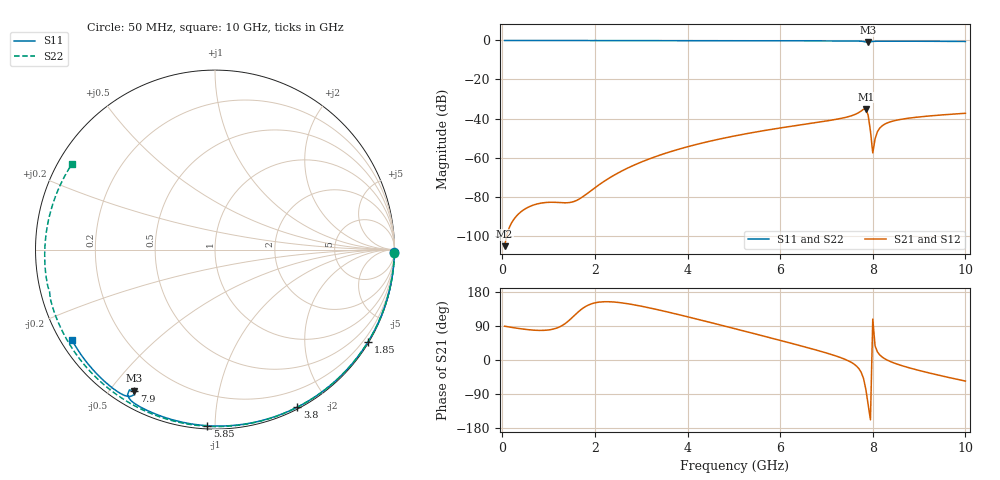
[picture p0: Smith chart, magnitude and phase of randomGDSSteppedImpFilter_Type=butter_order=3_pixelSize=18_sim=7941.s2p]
! freq	dB(S11)	phase(S11)	dB(S12)	phase(S12)
!  dB(S21)	phase(S21)	dB(S22)	phase(S22)
!S-par simulation data
#  GHz  S  DB  R 50
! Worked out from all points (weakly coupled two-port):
!   200 points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, 50 MHz to 10 GHz, reference 50 ohm
!   highest |S21| = -35.11 dB at 7.85 GHz (marker M1); lowest = -105.4 dB at 50 MHz (marker M2)
!   lowest |S11| = -0.9 dB at 7.9 GHz (marker M3), VSWR 20.29, Z = 3.29 - j28.9 ohm
!   |S11| at or under -10 dB: nowhere
!   |S22| runs from -0.6 to 0.0 dB; largest |S21 - S12| = 0
!   S11 on the Smith chart (normalised r, x): 50 MHz: open; 1.85 GHz: 0.03, -3.58; 3.8 GHz: 0.02, -1.65; 5.85 GHz: 0.02, -0.96; 7.9 GHz: 0.07, -0.58; 10 GHz: 0.03, -0.29
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0.05  -0.00 -0.9  -105.40 89.2  -105.40 89.2  -0.00 -1.2
0.85  -0.02 -14.5  -83.28 78.1  -83.28 78.1  -0.03 -20.0
1.75  -0.04 -29.6  -79.88 137.4  -79.88 137.4  -0.05 -40.8
1.85  -0.04 -31.2  -78.14 144.5  -78.14 144.5  -0.05 -43.0
2.2  -0.05 -37.0  -72.15 153.7  -72.15 153.7  -0.07 -50.9
2.55  -0.05 -42.7  -67.26 151.2  -67.26 151.2  -0.08 -58.6
3.4  -0.07 -56.2  -58.77 131.5  -58.77 131.5  -0.10 -76.8
3.8  -0.08 -62.4  -55.79 120.0  -55.79 120.0  -0.12 -85.1
5.05  -0.12 -81.1  -48.77 81.8  -48.77 81.8  -0.17 -110.3
5.85  -0.16 -92.5  -45.41 56.6  -45.41 56.6  -0.21 -125.8
6.7  -0.20 -104.4  -42.33 29.0  -42.33 29.0  -0.27 -142.2
7.45  -0.26 -114.9  -39.20 -0.8  -39.20 -0.8  -0.34 -156.8
7.85  -0.77 -121.4  -35.11 -77.1  -35.11 -77.1  -0.42 -164.8
7.9  -0.86 -119.7  -38.30 -118.4  -38.30 -118.4  -0.43 -165.6
7.95  -0.64 -119.2  -46.43 -157.8  -46.43 -157.8  -0.42 -166.5
8  -0.50 -120.0  -57.65 108.0  -57.65 108.0  -0.42 -167.5
8.05  -0.43 -120.9  -50.38 37.0  -50.38 37.0  -0.41 -168.5
8.1  -0.39 -121.8  -46.78 21.5  -46.78 21.5  -0.41 -169.5
8.2  -0.36 -123.4  -43.79 8.1  -43.79 8.1  -0.42 -171.6
8.35  -0.36 -125.6  -41.92 -2.5  -41.92 -2.5  -0.43 -174.7
9.2  -0.42 -137.0  -38.73 -33.7  -38.73 -33.7  -0.53 167.3
10  -0.51 -147.5  -37.32 -55.6  -37.32 -55.6  -0.64 149.0
